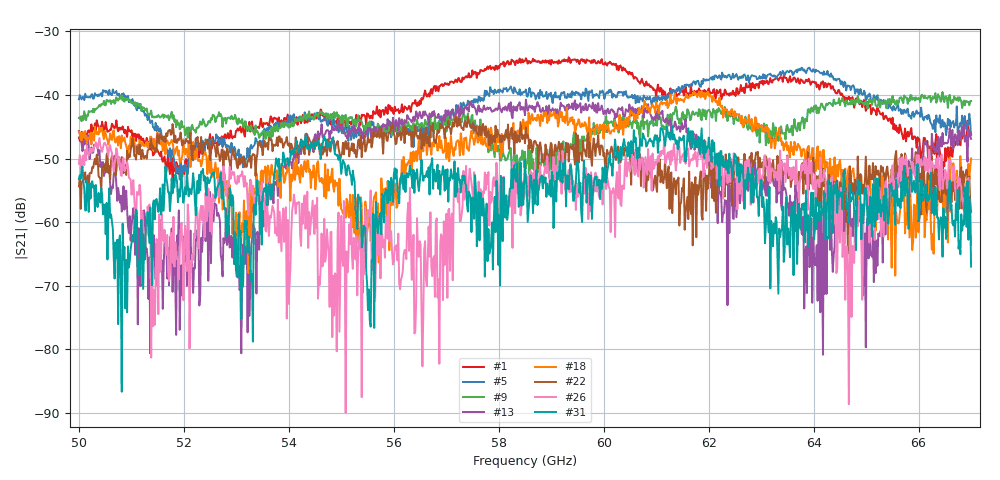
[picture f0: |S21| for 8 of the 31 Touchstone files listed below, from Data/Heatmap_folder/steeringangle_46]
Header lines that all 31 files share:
!Created with skrf (http://scikit-rf.org).
# GHz S RI R 50.0
!freq ReS11 ImS11 ReS21 ImS21 ReS12 ImS12 ReS22 ImS22
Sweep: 50 GHz to 67 GHz
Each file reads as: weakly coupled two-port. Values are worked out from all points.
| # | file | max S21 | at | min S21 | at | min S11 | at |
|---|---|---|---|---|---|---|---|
| 1 | az=-10_el=0.s2p | -34.07 dB | 59.33 GHz | -54.1 dB | 51.78 GHz | -55.5 dB | 66.49 GHz |
| 2 | az=-11_el=0.s2p | -36.07 dB | 60.13 GHz | -77.4 dB | 66.17 GHz | -46.5 dB | 58.23 GHz |
| 3 | az=-12_el=0.s2p | -35.76 dB | 56.9 GHz | -71.1 dB | 59.67 GHz | -48.3 dB | 58.23 GHz |
| 4 | az=-13_el=0.s2p | -36.77 dB | 66.95 GHz | -59.7 dB | 58.08 GHz | -46.5 dB | 58.23 GHz |
| 5 | az=-14_el=0.s2p | -35.70 dB | 63.77 GHz | -53.3 dB | 51.92 GHz | -47.3 dB | 58.23 GHz |
| 6 | az=-15_el=0.s2p | -36.35 dB | 60.8 GHz | -60.0 dB | 51.94 GHz | -45.3 dB | 58.23 GHz |
| 7 | az=-16_el=0.s2p | -37.25 dB | 57.21 GHz | -55.3 dB | 63.99 GHz | -45.5 dB | 58.23 GHz |
| 8 | az=-17_el=0.s2p | -39.53 dB | 65.89 GHz | -70.8 dB | 63.02 GHz | -48.0 dB | 58.23 GHz |
| 9 | az=-18_el=0.s2p | -39.54 dB | 66.46 GHz | -53.7 dB | 59.18 GHz | -43.3 dB | 58.23 GHz |
| 10 | az=-19_el=0.s2p | -38.03 dB | 64.82 GHz | -61.4 dB | 56.78 GHz | -43.6 dB | 58.23 GHz |
| 11 | az=-20_el=0.s2p | -37.67 dB | 60.37 GHz | -68.9 dB | 54.28 GHz | -44.7 dB | 58.23 GHz |
| 12 | az=-21_el=0.s2p | -38.58 dB | 60.13 GHz | -62.6 dB | 66.66 GHz | -42.9 dB | 58.23 GHz |
| 13 | az=-22_el=0.s2p | -40.74 dB | 58.52 GHz | -80.9 dB | 64.18 GHz | -44.9 dB | 58.23 GHz |
| 14 | az=-23_el=0.s2p | -41.95 dB | 57.45 GHz | -59.9 dB | 53.06 GHz | -41.4 dB | 58.23 GHz |
| 15 | az=-24_el=0.s2p | -41.95 dB | 55.1 GHz | -67.7 dB | 60.68 GHz | -40.5 dB | 58.23 GHz |
| 16 | az=-25_el=0.s2p | -41.79 dB | 63.34 GHz | -64.7 dB | 58.47 GHz | -41.5 dB | 58.23 GHz |
| 17 | az=-26_el=0.s2p | -40.20 dB | 61.14 GHz | -64.0 dB | 56.92 GHz | -40.6 dB | 58.23 GHz |
| 18 | az=-27_el=0.s2p | -39.38 dB | 61.87 GHz | -71.1 dB | 55.41 GHz | -39.9 dB | 58.23 GHz |
| 19 | az=-28_el=0.s2p | -40.67 dB | 61.32 GHz | -78.4 dB | 53.71 GHz | -42.0 dB | 58.23 GHz |
| 20 | az=-29_el=0.s2p | -40.93 dB | 57.62 GHz | -78.1 dB | 52.48 GHz | -40.8 dB | 58.23 GHz |
| 21 | az=-30_el=0.s2p | -40.65 dB | 57.36 GHz | -74.4 dB | 52.65 GHz | -43.4 dB | 60.05 GHz |
| 22 | az=-31_el=0.s2p | -43.43 dB | 57.17 GHz | -65.0 dB | 64.65 GHz | -42.1 dB | 60.05 GHz |
| 23 | az=-32_el=0.s2p | -44.48 dB | 54.2 GHz | -99.7 dB | 65.71 GHz | -41.4 dB | 60.05 GHz |
| 24 | az=-33_el=0.s2p | -45.91 dB | 52.62 GHz | -88.2 dB | 64.09 GHz | -42.8 dB | 60.05 GHz |
| 25 | az=-34_el=0.s2p | -47.83 dB | 60.74 GHz | -74.2 dB | 63.79 GHz | -42.8 dB | 60.05 GHz |
| 26 | az=-35_el=0.s2p | -46.77 dB | 50.39 GHz | -90.0 dB | 55.08 GHz | -42.7 dB | 60.05 GHz |
| 27 | az=-36_el=0.s2p | -47.28 dB | 60.69 GHz | -94.2 dB | 52.14 GHz | -39.1 dB | 60.05 GHz |
| 28 | az=-37_el=0.s2p | -46.38 dB | 61.14 GHz | -85.4 dB | 52.7 GHz | -39.8 dB | 60.05 GHz |
| 29 | az=-38_el=0.s2p | -45.77 dB | 54.35 GHz | -81.0 dB | 58.43 GHz | -40.0 dB | 58.23 GHz |
| 30 | az=-39_el=0.s2p | -44.86 dB | 61.29 GHz | -79.5 dB | 63.99 GHz | -44.1 dB | 60.05 GHz |
| 31 | az=-40_el=0.s2p | -44.81 dB | 61.3 GHz | -86.7 dB | 50.82 GHz | -39.5 dB | 60.05 GHz |
